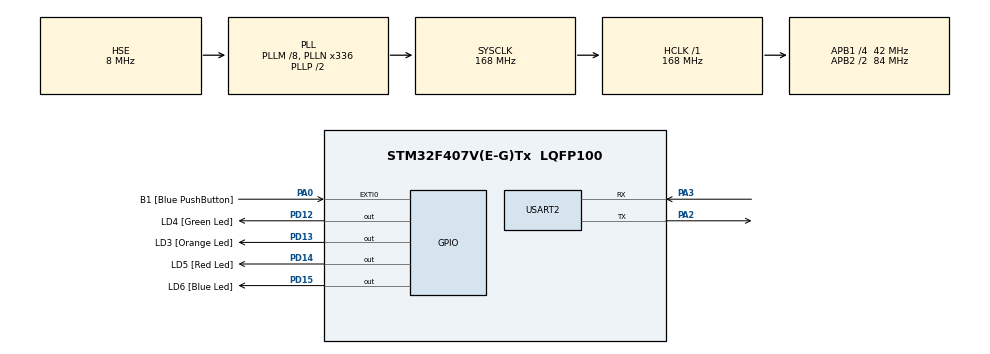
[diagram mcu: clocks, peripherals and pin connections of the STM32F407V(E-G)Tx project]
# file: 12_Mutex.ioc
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FREERTOS.Tasks01=defaultTask,24,128,StartDefaultTask,Default,NULL,Dynamic,NULL,NULL
FREERTOS.configCHECK_FOR_STACK_OVERFLOW=2
FREERTOS.configTOTAL_HEAP_SIZE=32768
FREERTOS.configUSE_IDLE_HOOK=0
FREERTOS.configUSE_MALLOC_FAILED_HOOK=1
FREERTOS.configUSE_TICK_HOOK=0
FREERTOS.configUSE_TRACE_FACILITY=1
Mcu.Family=STM32F4
Mcu.Name=STM32F407V(E-G)Tx
Mcu.Package=LQFP100
NVIC.EXTI0_IRQn=true\:5\:0\:false\:false\:true\:true\:true\:true\:true
NVIC.PriorityGroup=NVIC_PRIORITYGROUP_4
NVIC.TIM6_DAC_IRQn=true\:15\:0\:false\:false\:true\:false\:false\:true\:true
NVIC.TimeBase=TIM6_DAC_IRQn
NVIC.TimeBaseIP=TIM6
PA0-WKUP.GPIO_Label=B1 [Blue PushButton]
PA0-WKUP.GPIO_ModeDefaultEXTI=GPIO_MODE_IT_RISING
PA0-WKUP.GPIO_PuPd=GPIO_NOPULL
PA0-WKUP.Signal=GPXTI0
PA13.GPIO_Label=SWDIO
PA13.Mode=Serial_Wire
PA13.Signal=SYS_JTMS-SWDIO
PA14.GPIO_Label=SWCLK
PA14.Mode=Serial_Wire
PA14.Signal=SYS_JTCK-SWCLK
PA2.Mode=Asynchronous
PA2.Signal=USART2_TX
PA3.Mode=Asynchronous
PA3.Signal=USART2_RX
PB3.GPIO_Label=SWO
PB3.Signal=SYS_JTDO-SWO
PC14-OSC32_IN.GPIO_Label=PC14-OSC32_IN
PC14-OSC32_IN.Mode=LSE-External-Oscillator
PC14-OSC32_IN.Signal=RCC_OSC32_IN
PC15-OSC32_OUT.GPIO_Label=PC15-OSC32_OUT
PC15-OSC32_OUT.Mode=LSE-External-Oscillator
PC15-OSC32_OUT.Signal=RCC_OSC32_OUT
PD12.GPIO_Label=LD4 [Green Led]
PD12.GPIO_PuPd=GPIO_NOPULL
PD12.GPIO_Speed=GPIO_SPEED_FREQ_LOW
PD12.Signal=GPIO_Output
PD13.GPIO_Label=LD3 [Orange Led]
PD13.GPIO_PuPd=GPIO_NOPULL
PD13.GPIO_Speed=GPIO_SPEED_FREQ_LOW
PD13.Signal=GPIO_Output
PD14.GPIO_Label=LD5 [Red Led]
PD14.GPIO_PuPd=GPIO_NOPULL
PD14.GPIO_Speed=GPIO_SPEED_FREQ_LOW
PD14.Signal=GPIO_Output
PD15.GPIO_Label=LD6 [Blue Led]
PD15.GPIO_PuPd=GPIO_NOPULL
PD15.GPIO_Speed=GPIO_SPEED_FREQ_LOW
PD15.Signal=GPIO_Output
PH0-OSC_IN.GPIO_Label=PH0-OSC_IN
PH0-OSC_IN.Mode=HSE-External-Oscillator
PH0-OSC_IN.Signal=RCC_OSC_IN
PH1-OSC_OUT.GPIO_Label=PH1-OSC_OUT
PH1-OSC_OUT.Mode=HSE-External-Oscillator
PH1-OSC_OUT.Signal=RCC_OSC_OUT
ProjectManager.HeapSize=0x200
ProjectManager.StackSize=0x400
ProjectManager.TargetToolchain=STM32CubeIDE
RCC.48MHZClocksFreq_Value=48000000
RCC.AHBFreq_Value=168000000
RCC.APB1CLKDivider=RCC_HCLK_DIV4
RCC.APB1Freq_Value=42000000
RCC.APB1TimFreq_Value=84000000
RCC.APB2CLKDivider=RCC_HCLK_DIV2
RCC.APB2Freq_Value=84000000
RCC.APB2TimFreq_Value=168000000
RCC.CortexFreq_Value=168000000
RCC.HCLKFreq_Value=168000000
RCC.HSE_VALUE=8000000
RCC.HSI_VALUE=16000000
RCC.PLLM=8
RCC.PLLN=336
RCC.PLLQ=7
RCC.PLLSourceVirtual=RCC_PLLSOURCE_HSE
RCC.SYSCLKFreq_VALUE=168000000
RCC.SYSCLKSource=RCC_SYSCLKSOURCE_PLLCLK
RCC.VCOOutputFreq_Value=336000000
USART2.VirtualMode=VM_ASYNC
VP_FREERTOS_VS_CMSIS_V2.Mode=CMSIS_V2
VP_SYS_VS_tim6.Mode=TIM6
board=STM32F407G-DISC1

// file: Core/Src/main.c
/* USER CODE BEGIN Header */
/**
  ******************************************************************************
  * @file           : main.c
  * @brief          : Main program body
  ******************************************************************************
  * @attention
  *
  * Copyright (c) 2026 STMicroelectronics.
  * All rights reserved.
  *
  * This software is licensed under terms that can be found in the LICENSE file
  * in the root directory of this software component.
  * If no LICENSE file comes with this software, it is provided AS-IS.
  *
  ******************************************************************************
  */
/* USER CODE END Header */
#include "main.h"

/* USER CODE BEGIN Includes */
#include "FreeRTOS.h"
#include "task.h"
#include "semphr.h"
#include <stdio.h>
/* USER CODE END Includes */

UART_HandleTypeDef huart2;

/* USER CODE BEGIN PV */
SemaphoreHandle_t uartMutex;

TaskHandle_t evenTaskHandle;
TaskHandle_t oddTaskHandle;

static uint32_t number = 0;
/* USER CODE END PV */

void SystemClock_Config(void);
static void MX_GPIO_Init(void);
static void MX_USART2_UART_Init(void);

/* USER CODE BEGIN PFP */
static void EvenTask(void *argument);
static void OddTask(void *argument);
/* USER CODE END PFP */

int main(void)
{

  /* MCU Configuration--------------------------------------------------------*/

  /* Reset of all peripherals, Initializes the Flash interface and the Systick. */
  HAL_Init();

  /* Configure the system clock */
  SystemClock_Config();

  /* Initialize all configured peripherals */
  MX_GPIO_Init();
  MX_USART2_UART_Init();

  uartMutex = xSemaphoreCreateMutex();

  if (uartMutex == NULL)
  {
      Error_Handler();
  }

  xTaskCreate(EvenTask, "EvenTask", 128, NULL, 2, &evenTaskHandle);
  xTaskCreate(OddTask, "OddTask", 128, NULL, 2, &oddTaskHandle);

  /* Start FreeRTOS scheduler */
  vTaskStartScheduler();

  /* We should never get here as control is now taken by the scheduler */

  /* Infinite loop */
  while (1)
  {

  }
}

void SystemClock_Config(void)
{
  RCC_OscInitTypeDef RCC_OscInitStruct = {0};
  RCC_ClkInitTypeDef RCC_ClkInitStruct = {0};

  /** Configure the main internal regulator output voltage
  */
  __HAL_RCC_PWR_CLK_ENABLE();
  __HAL_PWR_VOLTAGESCALING_CONFIG(PWR_REGULATOR_VOLTAGE_SCALE1);

  /** Initializes the RCC Oscillators according to the specified parameters
  * in the RCC_OscInitTypeDef structure.
  */
  RCC_OscInitStruct.OscillatorType = RCC_OSCILLATORTYPE_HSE;
  RCC_OscInitStruct.HSEState = RCC_HSE_ON;
  RCC_OscInitStruct.PLL.PLLState = RCC_PLL_ON;
  RCC_OscInitStruct.PLL.PLLSource = RCC_PLLSOURCE_HSE;
  RCC_OscInitStruct.PLL.PLLM = 8;
  RCC_OscInitStruct.PLL.PLLN = 336;
  RCC_OscInitStruct.PLL.PLLP = RCC_PLLP_DIV2;
  RCC_OscInitStruct.PLL.PLLQ = 7;
  if (HAL_RCC_OscConfig(&RCC_OscInitStruct) != HAL_OK)
  {
    Error_Handler();
  }

  /** Initializes the CPU, AHB and APB buses clocks
  */
  RCC_ClkInitStruct.ClockType = RCC_CLOCKTYPE_HCLK|RCC_CLOCKTYPE_SYSCLK
                              |RCC_CLOCKTYPE_PCLK1|RCC_CLOCKTYPE_PCLK2;
  RCC_ClkInitStruct.SYSCLKSource = RCC_SYSCLKSOURCE_PLLCLK;
  RCC_ClkInitStruct.AHBCLKDivider = RCC_SYSCLK_DIV1;
  RCC_ClkInitStruct.APB1CLKDivider = RCC_HCLK_DIV4;
  RCC_ClkInitStruct.APB2CLKDivider = RCC_HCLK_DIV2;

  if (HAL_RCC_ClockConfig(&RCC_ClkInitStruct, FLASH_LATENCY_5) != HAL_OK)
  {
    Error_Handler();
  }
}

static void MX_USART2_UART_Init(void)
{

  huart2.Instance = USART2;
  huart2.Init.BaudRate = 115200;
  huart2.Init.WordLength = UART_WORDLENGTH_8B;
  huart2.Init.StopBits = UART_STOPBITS_1;
  huart2.Init.Parity = UART_PARITY_NONE;
  huart2.Init.Mode = UART_MODE_TX_RX;
  huart2.Init.HwFlowCtl = UART_HWCONTROL_NONE;
  huart2.Init.OverSampling = UART_OVERSAMPLING_16;
  if (HAL_UART_Init(&huart2) != HAL_OK)
  {
    Error_Handler();
  }

}

static void MX_GPIO_Init(void)
{
  GPIO_InitTypeDef GPIO_InitStruct = {0};

  /* GPIO Ports Clock Enable */
  __HAL_RCC_GPIOC_CLK_ENABLE();
  __HAL_RCC_GPIOH_CLK_ENABLE();
  __HAL_RCC_GPIOA_CLK_ENABLE();
  __HAL_RCC_GPIOD_CLK_ENABLE();
  __HAL_RCC_GPIOB_CLK_ENABLE();

  /*Configure GPIO pin Output Level */
  HAL_GPIO_WritePin(GPIOD, LD4_Pin|LD3_Pin|LD5_Pin|LD6_Pin, GPIO_PIN_RESET);

  /*Configure GPIO pin : B1_Pin */
  GPIO_InitStruct.Pin = B1_Pin;
  GPIO_InitStruct.Mode = GPIO_MODE_IT_RISING;
  GPIO_InitStruct.Pull = GPIO_NOPULL;
  HAL_GPIO_Init(B1_GPIO_Port, &GPIO_InitStruct);

  /*Configure GPIO pins : LD4_Pin LD3_Pin LD5_Pin LD6_Pin */
  GPIO_InitStruct.Pin = LD4_Pin|LD3_Pin|LD5_Pin|LD6_Pin;
  GPIO_InitStruct.Mode = GPIO_MODE_OUTPUT_PP;
  GPIO_InitStruct.Pull = GPIO_NOPULL;
  GPIO_InitStruct.Speed = GPIO_SPEED_FREQ_LOW;
  HAL_GPIO_Init(GPIOD, &GPIO_InitStruct);

  /* EXTI interrupt init*/
  HAL_NVIC_SetPriority(EXTI0_IRQn, 5, 0);
  HAL_NVIC_EnableIRQ(EXTI0_IRQn);

}

/* USER CODE BEGIN 4 */
static void EvenTask(void *argument)
{
    char msg[50];
    int len;

    for (;;)
    {
        xSemaphoreTake(uartMutex, portMAX_DELAY);
        if ((number & 1) == 0)
        {
            len = snprintf(msg, sizeof(msg), "EVEN: %lu\r\n", number);

            HAL_UART_Transmit(&huart2, (uint8_t *)msg, len, HAL_MAX_DELAY);

            number += 1;
        }
        xSemaphoreGive(uartMutex);
        vTaskDelay(pdMS_TO_TICKS(1000));
    }
}

static void OddTask(void *argument)
{
    char msg[50];
    int len;

    for (;;)
    {
        xSemaphoreTake(uartMutex, portMAX_DELAY);
        if ((number & 1) == 1)
        {
            len = snprintf(msg, sizeof(msg), "ODD: %lu\r\n", number);

            HAL_UART_Transmit(&huart2, (uint8_t *)msg, len, HAL_MAX_DELAY);

            number += 1;
        }
        xSemaphoreGive(uartMutex);
        vTaskDelay(pdMS_TO_TICKS(1000));
    }
}
/* USER CODE END 4 */

void HAL_TIM_PeriodElapsedCallback(TIM_HandleTypeDef *htim)
{
  if (htim->Instance == TIM6)
  {
    HAL_IncTick();
  }
}

void Error_Handler(void)
{
  __disable_irq();
  while (1)
  {
  }
}
